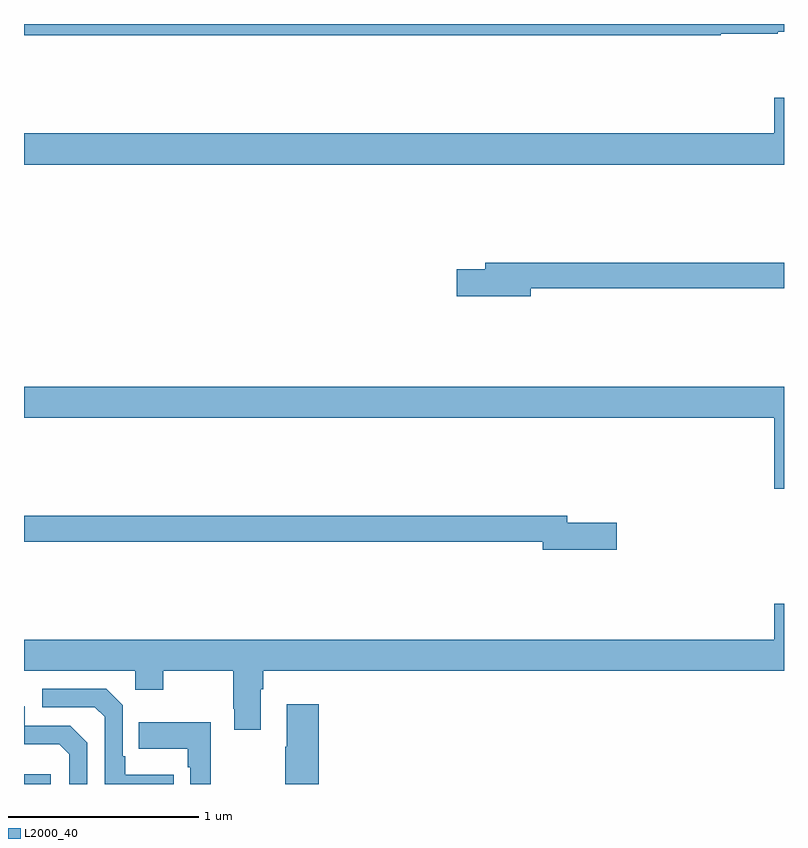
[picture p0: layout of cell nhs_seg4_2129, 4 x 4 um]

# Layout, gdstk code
import gdstk
lib = gdstk.Library(unit=1e-6, precision=1e-09)
def R(c, l, rs):  # rectangles x0, y0, x1, y1
    for r in rs: c.add(gdstk.rectangle(r[:2], r[2:], *l))
def P(c, l, *ps):  # polygons
    for p in ps: c.add(gdstk.Polygon(p, *l))
L2000_40 = (2000, 40)

nhs_seg4_2129 = lib.new_cell('nhs_seg4_2129')
R(nhs_seg4_2129, L2000_40, [(221,786.9,221.14,786.952)])
P(nhs_seg4_2129, L2000_40, [(224.666,790.848),(224.966,790.848),(224.966,790.86),(225,790.86),(225,790.9),(221,790.9),(221,790.84),(224.666,790.84)],
  [(225,790.513),(224.948,790.513),(224.948,790.324),(221,790.324),(221,790.16),(225,790.16)],
  [(223.666,789.508),(225,789.508),(225,789.644),(223.427,789.644),(223.427,789.608),(223.278,789.608),(223.278,789.466),(223.666,789.466)],
  [(225,788.992),(221,788.992),(221,788.828),(224.948,788.828),(224.948,788.454),(225,788.454)],
  [(224.119,788.276),(223.858,788.276),(223.858,788.312),(221,788.312),(221,788.176),(223.73,788.176),(223.73,788.134),(224.119,788.134)],
  [(222.247,787.4),(222.26,787.4),(222.26,787.496),(225,787.496),(225,787.849),(224.948,787.849),(224.948,787.66),(221,787.66),(221,787.496),(221.586,787.496),(221.586,787.397),(221.733,787.397),(221.733,787.496),(222.1,787.496),(222.1,787.297),(222.107,787.297),(222.107,787.185),(222.247,787.185)],
  [(221.789,786.949),(221.533,786.949),(221.533,787.045),(221.52,787.045),(221.52,787.314),(221.433,787.401),(221.097,787.401),(221.097,787.305),(221.373,787.305),(221.424,787.254),(221.424,786.9),(221.789,786.9)],
  [(222.551,787.321),(222.383,787.321),(222.383,787.097),(222.376,787.097),(222.376,786.9),(222.551,786.9)],
  [(221.334,787.116),(221.244,787.206),(221.004,787.206),(221.004,787.308),(221,787.308),(221,787.109),(221.185,787.109),(221.238,787.056),(221.238,786.9),(221.334,786.9)],
  [(221.983,787.225),(221.605,787.225),(221.605,787.085),(221.862,787.085),(221.862,786.989),(221.874,786.989),(221.874,786.9),(221.983,786.9)])

lib.write_gds('nhs_seg4_2129.gds')
